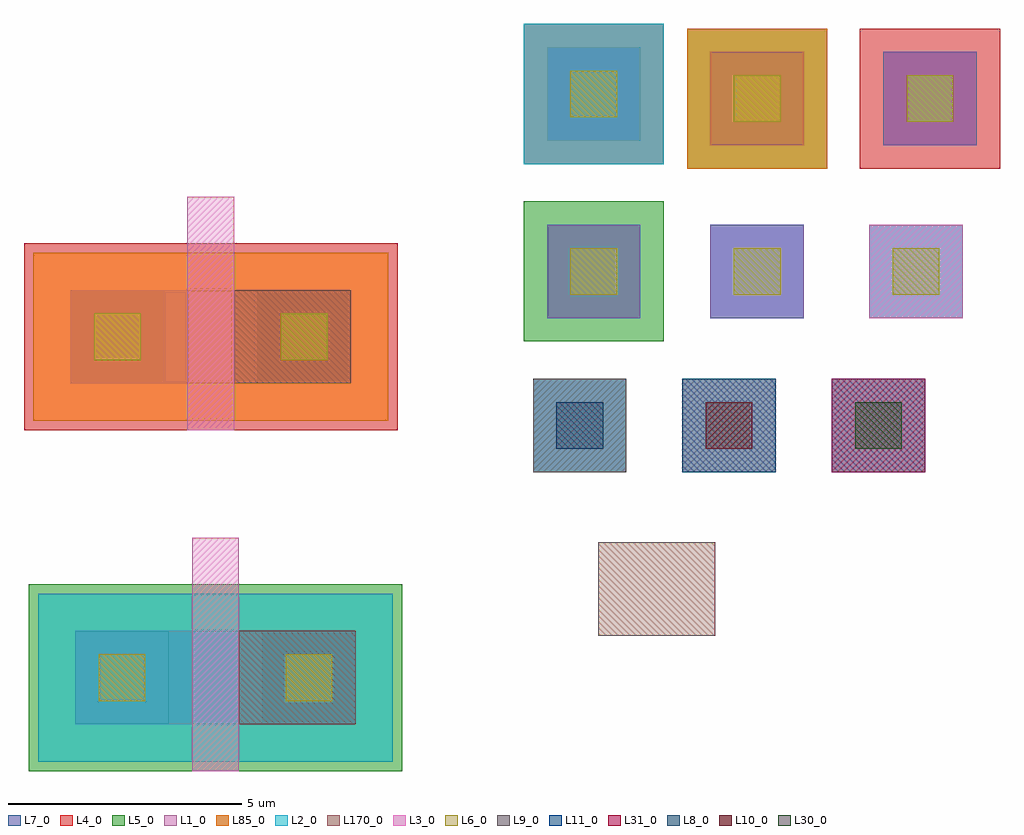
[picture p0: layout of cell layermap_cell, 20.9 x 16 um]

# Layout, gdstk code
import gdstk
lib = gdstk.Library(unit=1e-6, precision=5e-10)
def R(c, l, rs):  # rectangles x0, y0, x1, y1
    for r in rs: c.add(gdstk.rectangle(r[:2], r[2:], *l))
L1_0 = (1, 0)
L2_0 = (2, 0)
L3_0 = (3, 0)
L4_0 = (4, 0)
L5_0 = (5, 0)
L6_0 = (6, 0)
L7_0 = (7, 0)
L8_0 = (8, 0)
L9_0 = (9, 0)
L10_0 = (10, 0)
L11_0 = (11, 0)
L30_0 = (30, 0)
L31_0 = (31, 0)
L85_0 = (85, 0)
L170_0 = (170, 0)

nmos3_cdns_635227999020 = lib.new_cell('nmos3_CDNS_635227999020')
R(nmos3_cdns_635227999020, L1_0, [(1,1,7,3)])
R(nmos3_cdns_635227999020, L3_0, [(3.5,0,4.5,5), (3.6,3.5,4.4,3.9)])
R(nmos3_cdns_635227999020, L4_0, [(0,0,8,4)])
R(nmos3_cdns_635227999020, L6_0, [(1.5,1.5,2.5,2.5), (5.5,1.5,6.5,2.5), (5.5,1.5,6.5,2.5)])
R(nmos3_cdns_635227999020, L7_0, [(1,1,3,3), (5,1,7,3), (1.3,1.3,2.7,2.7), (5.3,1.3,6.7,2.7)])
R(nmos3_cdns_635227999020, L85_0, [(0.2,0.2,7.8,3.8)])
R(nmos3_cdns_635227999020, L170_0, [(4.5,1,7,3)])

pmos3_cdns_635227999021 = lib.new_cell('pmos3_CDNS_635227999021')
R(pmos3_cdns_635227999021, L1_0, [(1,1,7,3)])
R(pmos3_cdns_635227999021, L2_0, [(0.2,0.2,7.8,3.8)])
R(pmos3_cdns_635227999021, L3_0, [(3.5,0,4.5,5), (3.6,3.6,4.4,3.9)])
R(pmos3_cdns_635227999021, L5_0, [(0,0,8,4)])
R(pmos3_cdns_635227999021, L6_0, [(1.5,1.5,2.5,2.5), (5.5,1.5,6.5,2.5), (5.5,1.5,6.5,2.5)])
R(pmos3_cdns_635227999021, L7_0, [(1,1,3,3), (5,1,7,3), (1.3,1.3,2.7,2.7), (5.3,1.3,6.7,2.7)])
R(pmos3_cdns_635227999021, L170_0, [(4.5,1,7,3)])

m1_nwell_cdns_6352279990 = lib.new_cell('M1_NWELL_CDNS_635227999020')
R(m1_nwell_cdns_6352279990, L1_0, [(-1,-1,1,1)])
R(m1_nwell_cdns_6352279990, L2_0, [(-1.5,-1.5,1.5,1.5)])
R(m1_nwell_cdns_6352279990, L4_0, [(-1.5,-1.5,1.5,1.5)])
R(m1_nwell_cdns_6352279990, L6_0, [(-0.5,-0.5,0.5,0.5)])
R(m1_nwell_cdns_6352279990, L7_0, [(-1,-1,1,1)])

m1_psub_cdns_63522799902 = lib.new_cell('M1_PSUB_CDNS_635227999021')
R(m1_psub_cdns_63522799902, L1_0, [(-1,-1,1,1)])
R(m1_psub_cdns_63522799902, L5_0, [(-1.5,-1.5,1.5,1.5)])
R(m1_psub_cdns_63522799902, L6_0, [(-0.5,-0.5,0.5,0.5)])
R(m1_psub_cdns_63522799902, L7_0, [(-1,-1,1,1)])
R(m1_psub_cdns_63522799902, L85_0, [(-1.5,-1.5,1.5,1.5)])

m1_nimp_cdns_63522799902 = lib.new_cell('M1_NIMP_CDNS_635227999022')
R(m1_nimp_cdns_63522799902, L1_0, [(-1,-1,1,1)])
R(m1_nimp_cdns_63522799902, L4_0, [(-1.5,-1.5,1.5,1.5)])
R(m1_nimp_cdns_63522799902, L6_0, [(-0.5,-0.5,0.5,0.5)])
R(m1_nimp_cdns_63522799902, L7_0, [(-1,-1,1,1)])

m1_pimp_cdns_63522799902 = lib.new_cell('M1_PIMP_CDNS_635227999023')
R(m1_pimp_cdns_63522799902, L1_0, [(-1,-1,1,1)])
R(m1_pimp_cdns_63522799902, L5_0, [(-1.5,-1.5,1.5,1.5)])
R(m1_pimp_cdns_63522799902, L6_0, [(-0.5,-0.5,0.5,0.5)])
R(m1_pimp_cdns_63522799902, L7_0, [(-1,-1,1,1)])

m1_diff_cdns_63522799902 = lib.new_cell('M1_DIFF_CDNS_635227999024')
R(m1_diff_cdns_63522799902, L1_0, [(-1,-1,1,1)])
R(m1_diff_cdns_63522799902, L6_0, [(-0.5,-0.5,0.5,0.5)])
R(m1_diff_cdns_63522799902, L7_0, [(-1,-1,1,1)])

m2_m1_cdns_635227999025 = lib.new_cell('M2_M1_CDNS_635227999025')
R(m2_m1_cdns_635227999025, L7_0, [(-1,-1,1,1)])
R(m2_m1_cdns_635227999025, L8_0, [(-0.5,-0.5,0.5,0.5)])
R(m2_m1_cdns_635227999025, L9_0, [(-1,-1,1,1)])

m3_m2_cdns_635227999026 = lib.new_cell('M3_M2_CDNS_635227999026')
R(m3_m2_cdns_635227999026, L9_0, [(-1,-1,1,1)])
R(m3_m2_cdns_635227999026, L10_0, [(-0.5,-0.5,0.5,0.5)])
R(m3_m2_cdns_635227999026, L11_0, [(-1,-1,1,1)])

m4_m3_cdns_635227999027 = lib.new_cell('M4_M3_CDNS_635227999027')
R(m4_m3_cdns_635227999027, L11_0, [(-1,-1,1,1)])
R(m4_m3_cdns_635227999027, L30_0, [(-0.5,-0.5,0.5,0.5)])
R(m4_m3_cdns_635227999027, L31_0, [(-1,-1,1,1)])

m1_po_cdns_635227999028 = lib.new_cell('M1_PO_CDNS_635227999028')
R(m1_po_cdns_635227999028, L3_0, [(-1,-1,1,1)])
R(m1_po_cdns_635227999028, L6_0, [(-0.5,-0.5,0.5,0.5)])
R(m1_po_cdns_635227999028, L7_0, [(-1,-1,1,1)])

layermap_cell = lib.new_cell('layermap_cell')
R(layermap_cell, L170_0, [(14,4.8,16.5,6.8)])
layermap_cell.add(gdstk.Reference(nmos3_cdns_635227999020, (1.7,9.2)))
layermap_cell.add(gdstk.Reference(pmos3_cdns_635227999021, (1.8,1.9)))
layermap_cell.add(gdstk.Reference(m1_nwell_cdns_6352279990, (13.9,16.4)))
layermap_cell.add(gdstk.Reference(m1_psub_cdns_63522799902, (17.4,16.3)))
layermap_cell.add(gdstk.Reference(m1_nimp_cdns_63522799902, (21.1,16.3)))
layermap_cell.add(gdstk.Reference(m1_pimp_cdns_63522799902, (13.9,12.6)))
layermap_cell.add(gdstk.Reference(m1_diff_cdns_63522799902, (17.4,12.6)))
layermap_cell.add(gdstk.Reference(m2_m1_cdns_635227999025, (13.6,9.3)))
layermap_cell.add(gdstk.Reference(m3_m2_cdns_635227999026, (16.8,9.3)))
layermap_cell.add(gdstk.Reference(m4_m3_cdns_635227999027, (20,9.3)))
layermap_cell.add(gdstk.Reference(m1_po_cdns_635227999028, (20.8,12.6)))

lib.write_gds('layermap_cell.gds')
